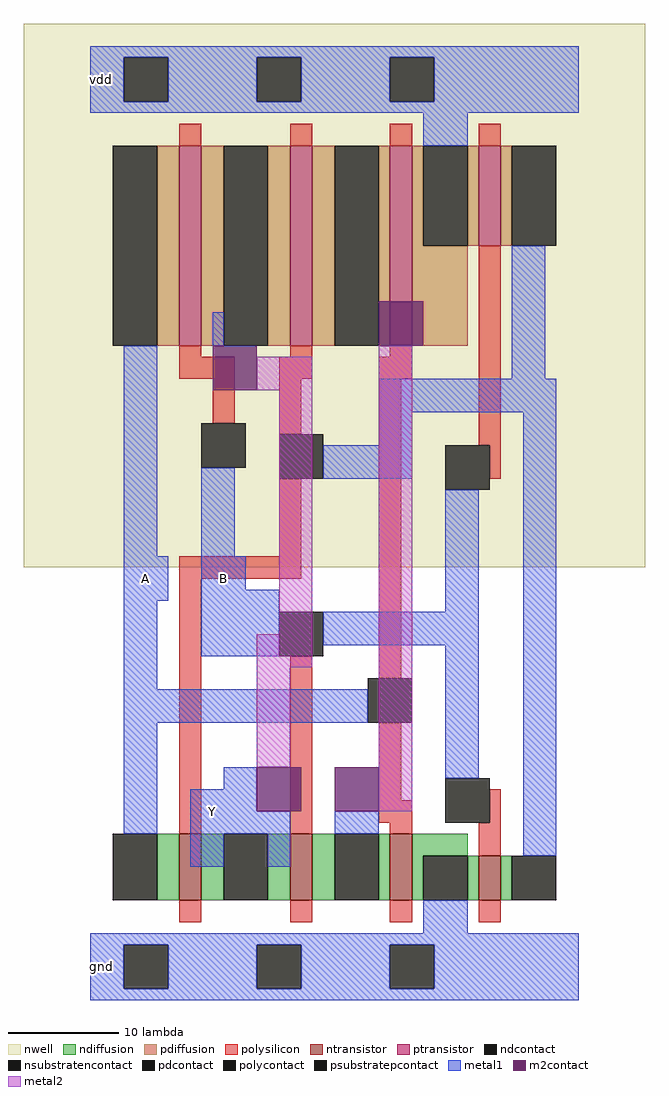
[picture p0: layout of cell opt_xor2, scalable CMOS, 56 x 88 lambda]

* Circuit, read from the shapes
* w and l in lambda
.subckt opt_xor2 A B Y vdd gnd
M1 Y n1 A gnd nfet w=6 l=2
M2 n2 B Y gnd nfet w=6 l=2
M3 gnd A n2 gnd nfet w=6 l=2
M4 n1 B gnd gnd nfet w=4 l=2
M5 Y B A vdd pfet w=18 l=2
M6 n2 n1 Y vdd pfet w=18 l=2
M7 vdd A n2 vdd pfet w=18 l=2
M8 n1 B vdd vdd pfet w=9 l=2
.ends

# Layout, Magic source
magic
tech scmos
<< nwell >>
rect -6 36 50 85
<< ndiffusion >>
rect 6 6 8 12
rect 10 6 12 12
rect 16 6 18 12
rect 20 6 22 12
rect 26 6 27 12
rect 29 6 30 10
rect 34 6 35 10
rect 37 6 38 10
rect 29 10 34 12
<< pdiffusion >>
rect 6 56 8 74
rect 10 56 12 74
rect 16 56 18 74
rect 20 56 22 74
rect 26 56 27 74
rect 29 56 34 65
rect 29 65 30 74
rect 34 65 35 74
rect 37 65 38 74
<< polysilicon >>
rect 8 4 10 6
rect 18 4 20 6
rect 27 4 29 6
rect 35 4 37 6
rect 35 10 37 13
rect 8 12 10 35
rect 18 12 20 28
rect 27 12 29 13
rect 26 13 29 15
rect 36 13 37 16
rect 26 15 28 22
rect 26 26 28 53
rect 8 35 19 37
rect 17 37 19 44
rect 36 44 37 47
rect 35 47 37 65
rect 17 48 19 53
rect 11 49 13 53
rect 8 53 13 55
rect 17 53 20 55
rect 26 53 29 55
rect 8 55 10 56
rect 18 55 20 56
rect 27 55 29 56
rect 8 74 10 76
rect 18 74 20 76
rect 27 74 29 76
rect 35 74 37 76
<< ntransistor >>
rect 8 6 10 12
rect 18 6 20 12
rect 27 6 29 12
rect 35 6 37 10
<< ptransistor >>
rect 8 56 10 74
rect 18 56 20 74
rect 27 56 29 74
rect 35 65 37 74
<< ndcontact >>
rect 2 6 6 12
rect 12 6 16 12
rect 22 6 26 12
rect 30 6 34 10
rect 38 6 42 10
<< pdcontact >>
rect 2 56 6 74
rect 12 56 16 74
rect 22 56 26 74
rect 30 65 34 74
rect 38 65 42 74
<< polycontact >>
rect 32 13 36 17
rect 25 22 29 26
rect 17 28 21 32
rect 32 43 36 47
rect 17 44 21 48
rect 10 45 14 49
<< psubstratepcontact >>
rect 3 -2 7 2
rect 15 -2 19 2
rect 27 -2 31 2
<< nsubstratencontact >>
rect 3 78 7 82
rect 15 78 19 82
rect 27 78 31 82
<< metal1 >>
rect 0 -3 44 -2
rect 0 -2 3 2
rect 7 -2 15 2
rect 19 -2 27 2
rect 31 -2 44 2
rect 0 2 44 3
rect 30 3 34 6
rect 9 9 12 12
rect 16 9 18 12
rect 39 10 42 50
rect 3 12 6 22
rect 9 12 18 14
rect 22 12 26 14
rect 9 14 15 16
rect 12 16 15 18
rect 32 17 35 29
rect 3 22 25 25
rect 3 25 6 33
rect 10 28 17 34
rect 21 29 35 32
rect 32 32 35 43
rect 3 33 7 37
rect 10 34 14 37
rect 3 37 6 56
rect 10 37 13 45
rect 21 44 29 47
rect 26 47 29 50
rect 26 50 42 53
rect 38 53 41 65
rect 11 56 12 59
rect 30 74 34 77
rect 0 77 44 78
rect 0 78 3 82
rect 7 78 15 82
rect 19 78 27 82
rect 31 78 44 82
rect 0 82 44 83
<< m2contact >>
rect 15 14 19 18
rect 22 14 26 18
rect 11 52 15 56
rect 26 56 30 60
<< metal2 >>
rect 26 14 29 56
rect 15 18 18 27
rect 15 27 20 30
rect 17 30 20 52
rect 15 52 20 55
<< labels >>
rlabel metal1 s 3 33 7 37 0 A
port 1 nsew signal input
rlabel metal1 s 10 33 14 37 0 B
port 2 nsew signal input
rlabel metal1 s 9 12 13 16 0 Y
port 3 nsew signal output
rlabel metal1 s 0 77 2 83 0 vdd
port 4 nsew power bidirectional
rlabel metal1 s 0 -3 2 3 0 gnd
port 5 nsew ground bidirectional
<< properties >>
string FIXED_BBOX 0 0 44 80
<< end >>
